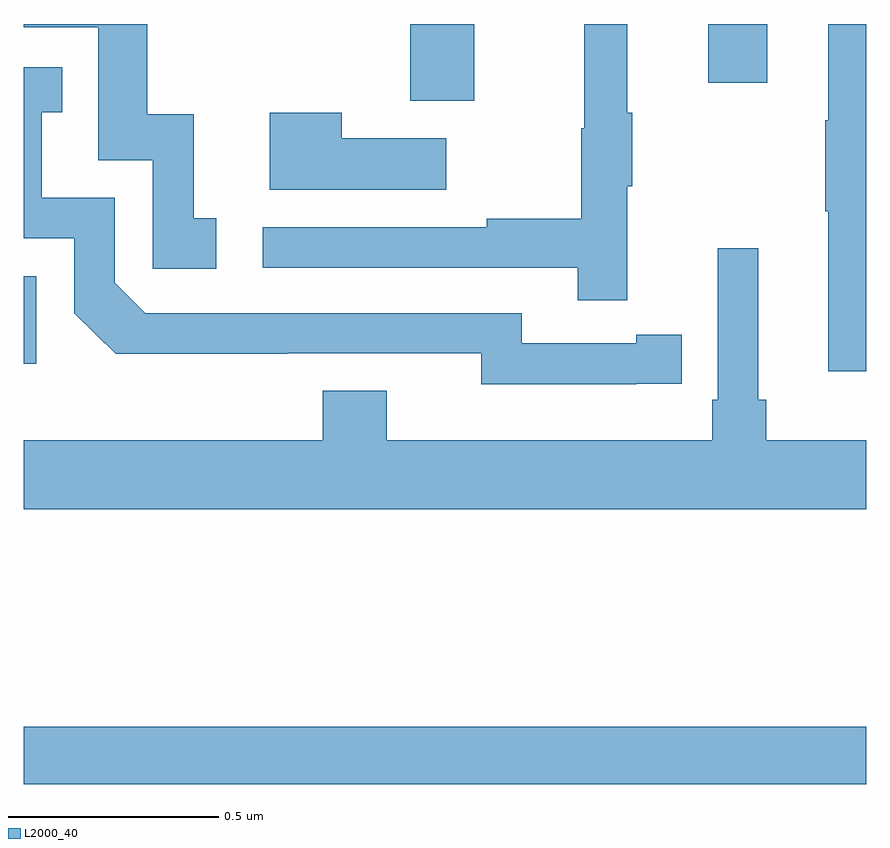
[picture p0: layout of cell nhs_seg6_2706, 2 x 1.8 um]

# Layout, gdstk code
import gdstk
lib = gdstk.Library(unit=1e-6, precision=1e-09)
def R(c, l, rs):  # rectangles x0, y0, x1, y1
    for r in rs: c.add(gdstk.rectangle(r[:2], r[2:], *l))
def P(c, l, *ps):  # polygons
    for p in ps: c.add(gdstk.Polygon(p, *l))
L2000_40 = (2000, 40)

nhs_seg6_2706 = lib.new_cell('nhs_seg6_2706')
R(nhs_seg6_2706, L2000_40, [(147,934.696,149,934.832), (147,935.694,147.03,935.901), (147.917,936.318,148.069,936.5), (148.625,936.36,148.765,936.5)])
P(nhs_seg6_2706, L2000_40, [(149,936.5),(148.91,936.5),(148.91,936.272),(148.903,936.272),(148.903,936.055),(148.91,936.055),(148.91,935.676),(149,935.676)],
  [(148.433,936.115),(148.444,936.115),(148.444,936.289),(148.433,936.289),(148.433,936.5),(148.33,936.5),(148.33,936.252),(148.323,936.252),(148.323,936.038),(148.099,936.038),(148.099,936.018),(147.567,936.018),(147.567,935.922),(148.315,935.922),(148.315,935.844),(148.433,935.844)],
  [(147.457,936.039),(147.404,936.039),(147.404,936.286),(147.293,936.286),(147.293,936.5),(147,936.5),(147,936.492),(147.177,936.492),(147.177,936.177),(147.306,936.177),(147.306,935.919),(147.457,935.919)],
  [(148.454,935.646),(148.562,935.646),(148.562,935.762),(148.454,935.762),(148.454,935.742),(148.182,935.742),(148.182,935.814),(147.288,935.814),(147.216,935.886),(147.216,936.087),(147.043,936.087),(147.043,936.291),(147.092,936.291),(147.092,936.397),(147,936.397),(147,935.991),(147.12,935.991),(147.12,935.814),(147.218,935.717),(147.626,935.717),(147.626,935.718),(148.086,935.718),(148.086,935.645),(148.454,935.645)],
  [(148.003,936.229),(147.755,936.229),(147.755,936.289),(147.584,936.289),(147.584,936.107),(148.003,936.107)],
  [(149,935.512),(148.763,935.512),(148.763,935.608),(148.744,935.608),(148.744,935.968),(148.647,935.968),(148.647,935.608),(148.634,935.608),(148.634,935.512),(147.862,935.512),(147.862,935.629),(147.71,935.629),(147.71,935.512),(147,935.512),(147,935.348),(149,935.348)])

lib.write_gds('nhs_seg6_2706.gds')
